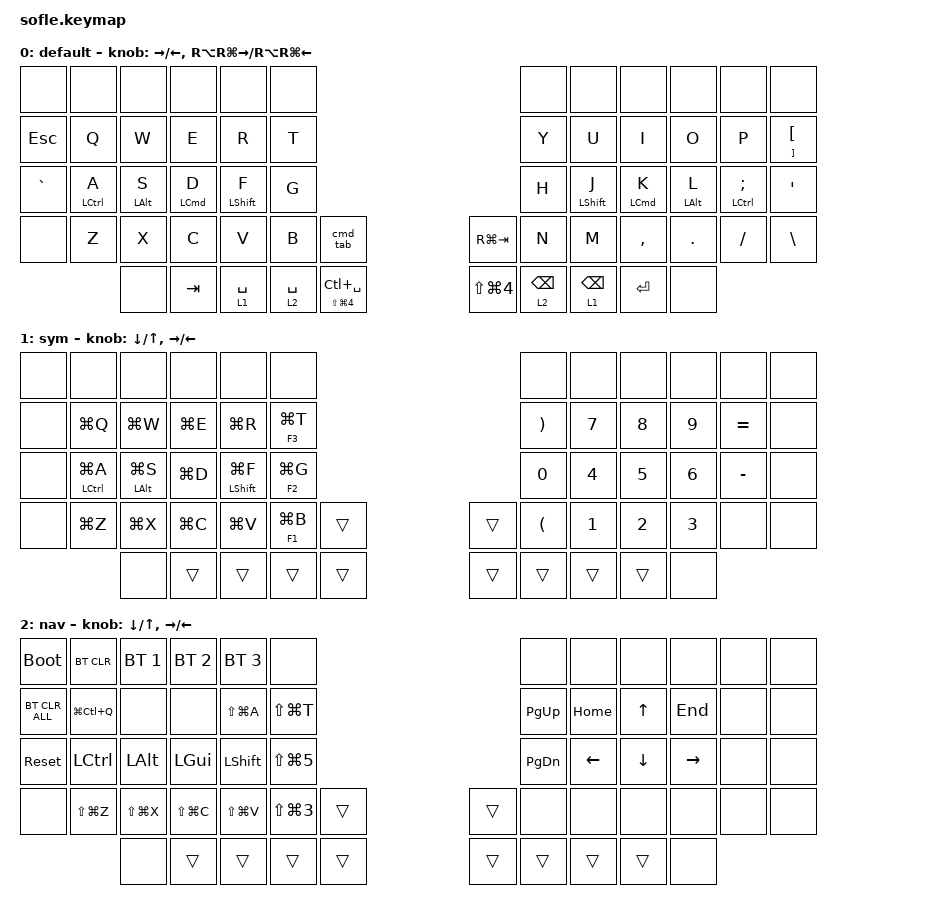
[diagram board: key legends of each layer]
/*
 * Copyright (c) 2020 The ZMK Contributors
 *
 * SPDX-License-Identifier: MIT
 */

#include <behaviors.dtsi>
#include <dt-bindings/zmk/bt.h>
#include <dt-bindings/zmk/keys.h>

#define BASE 0
#define NAV 1
#define SYM 2

&lt { quick-tap-ms = <200>; };

&inc_dec_kp { tap-ms = <100>; };

&mt {
    flavor = "tap-preferred";
    quick-tap-ms = <100>;
};

/ {
    behaviors {
        hrm: home_row_mod {
            compatible = "zmk,behavior-hold-tap";
            label = "HOME_ROW_MOD";
            #binding-cells = <2>;
            tapping-term-ms = <180>;
            quick-tap-ms = <120>;
            require-prior-idle-ms = <100>;
            flavor = "tap-preferred";
            bindings = <&kp>, <&kp>;
        };
    };

    macros {
        cmd_tab: cmd_tab {
            compatible = "zmk,behavior-macro";
            #binding-cells = <0>;
            bindings =
                <&macro_press>,
                <&kp LEFT_GUI>,
                <&macro_tap>,
                <&kp TAB>,
                <&macro_pause_for_release>,
                <&macro_release>,
                <&kp LEFT_GUI>;

            label = "CMD_TAB";
        };
    };

    keymap {
        compatible = "zmk,keymap";

        default_layer {
            display-name = "default";
            bindings = <
&none      &none        &none       &none       &none         &none                                                                &none            &none            &none       &none       &none           &none
&kp ESC    &kp Q        &kp W       &kp E       &kp R         &kp T                                                                &kp Y            &kp U            &kp I       &kp O       &kp P           &mt RIGHT_BRACKET LEFT_BRACKET
&kp GRAVE  &mt LCTRL A  &mt LALT S  &mt LCMD D  &mt LSHIFT F  &kp G                                                                &kp H            &mt LSHIFT J     &mt LCMD K  &mt LALT L  &mt LCTRL SEMI  &kp SQT
&none      &kp Z        &kp X       &kp C       &kp V         &kp B        &cmd_tab                          &kp RG(TAB)           &kp N            &kp M            &kp COMMA   &kp DOT     &kp FSLH        &kp BACKSLASH
                        &none       &kp TAB     &lt 1 SPACE   &lt 2 SPACE  &mt LS(LG(NUMBER_4)) LC(SPACE)    &kp LS(LG(NUMBER_4))  &lt 2 BACKSPACE  &lt 1 BACKSPACE  &kp ENTER   &none
            >;

            sensor-bindings =
                <&inc_dec_kp RIGHT LEFT>,
                <&inc_dec_kp RA(RG(RIGHT)) RA(RG(LEFT))>;
        };

        First {
            display-name = "sym";
            bindings = <
&none  &none            &none           &none      &none            &none                           &none                  &none   &none   &none   &none      &none
&none  &kp LG(Q)        &kp LG(W)       &kp LG(E)  &kp LG(R)        &mt F3 LG(T)                    &kp RIGHT_PARENTHESIS  &kp N7  &kp N8  &kp N9  &kp EQUAL  &none
&none  &mt LCTRL LG(A)  &mt LALT LG(S)  &kp LG(D)  &mt LSHFT LG(F)  &mt F2 LG(G)                    &kp N0                 &kp N4  &kp N5  &kp N6  &kp MINUS  &none
&none  &kp LG(Z)        &kp LG(X)       &kp LG(C)  &kp LG(V)        &mt F1 LG(B)  &trans    &trans  &kp LEFT_PARENTHESIS   &kp N1  &kp N2  &kp N3  &none      &none
                        &none           &trans     &trans           &trans        &trans    &trans  &trans                 &trans  &trans  &none
            >;

            sensor-bindings =
                <&inc_dec_kp DOWN_ARROW UP_ARROW>,
                <&inc_dec_kp RIGHT LEFT>;
        };

        Second {
            display-name = "nav";
            bindings = <
&bootloader     &bt BT_CLR     &bt BT_SEL 1   &bt BT_SEL 2   &bt BT_SEL 3   &none                                   &none      &none     &none     &none      &none  &none
&bt BT_CLR_ALL  &kp LG(LC(Q))  &none          &none          &kp LS(LG(A))  &kp LS(LG(T))                           &kp PG_UP  &kp HOME  &kp UP    &kp END    &none  &none
&sys_reset      &kp LCTRL      &kp LALT       &kp LGUI       &kp LSHFT      &kp LS(LG(N5))                          &kp PG_DN  &kp LEFT  &kp DOWN  &kp RIGHT  &none  &none
&none           &kp LS(LG(Z))  &kp LS(LG(X))  &kp LS(LG(C))  &kp LS(LG(V))  &kp LS(LG(NUMBER_3))  &trans    &trans  &none      &none     &none     &none      &none  &none
                               &none          &trans         &trans         &trans                &trans    &trans  &trans     &trans    &trans    &none
            >;

            sensor-bindings =
                <&inc_dec_kp DOWN_ARROW UP_ARROW>,
                <&inc_dec_kp RIGHT LEFT_ARROW>;
        };
    };
};
